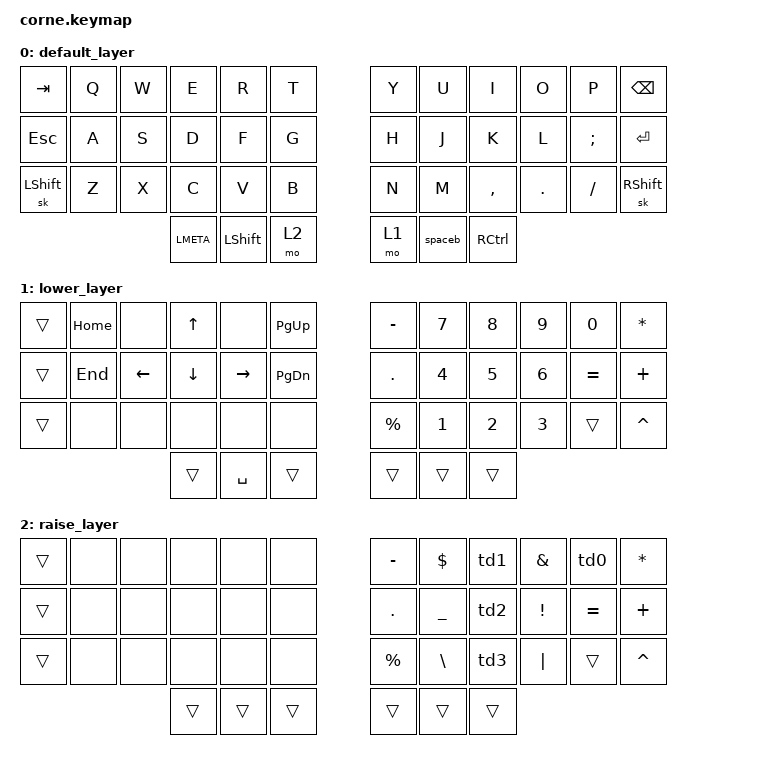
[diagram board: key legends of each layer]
/*
 * Copyright (c) 2020 The ZMK Contributor
 *
 * SPDX-License-Identifier: MIT
 */

#include <behaviors.dtsi>
#include <dt-bindings/zmk/keys.h>
#include <dt-bindings/zmk/bt.h>

/ {
            behaviors {
                spaceb: space_backspace {
                    compatible = "zmk,behavior-mod-morph";
                    label = "SPACE_BACKSPACE";
                    #binding-cells = <0>;
                    bindings = <&kp SPACE>, <&kp BSPC>;
                    mods = <(MOD_LSFT)>;
                };
                td0: tap_dance_0 {
                    compatible = "zmk,behavior-tap-dance";
                    label = "TAP_DANCE_0";
                    #binding-cells = <0>;
                    tapping-term-ms = <200>;
                    bindings = <&kp SQT>, <&kp DQT>;
                };
                td1: tap_dance_1 {
                    compatible = "zmk,behavior-tap-dance";
                    label = "TAP_DANCE_1";
                    #binding-cells = <0>;
                    tapping-term-ms = <200>;
                    bindings = <&kp LBRC>, <&kp RBRC>;
                };
                td2: tap_dance_2 {
                    compatible = "zmk,behavior-tap-dance";
                    label = "TAP_DANCE_2";
                    #binding-cells = <0>;
                    tapping-term-ms = <200>;
                    bindings = <&kp LPAR>, <&kp RPAR>;
                };
                td3: tap_dance_3 {
                    compatible = "zmk,behavior-tap-dance";
                    label = "TAP_DANCE_3";
                    #binding-cells = <0>;
                    tapping-term-ms = <200>;
                    bindings = <&kp LBKT>, <&kp RBKT>;
                };
            };
            
        keymap {
                compatible = "zmk,keymap";

                default_layer {
// -----------------------------------------------------------------------------------------
// |  TAB |  Q  |  W  |  E  |  R  |  T  |   |  Y  |  U   |  I  |  O  |  P  | BKSP |
// | ESC  |  A  |  S  |  D  |  F  |  G  |   |  H  |  J   |  K  |  L  |  ;  | ENT  |
// | SHFT |  Z  |  X  |  C  |  V  |  B  |   |  N  |  M   |  ,  |  .  |  /  | SHFT |
//                   | META| SHFT | RSE |   | LWR | SPC  | CTL |
                        bindings = <
   &kp TAB   &kp Q &kp W &kp E &kp R &kp T   &kp Y &kp U  &kp I     &kp O   &kp P    &kp BSPC
   &kp ESC &kp A &kp S &kp D &kp F &kp G     &kp H &kp J  &kp K     &kp L   &kp SEMI &kp RET
   &sk LSHFT &kp Z &kp X &kp C &kp V &kp B   &kp N &kp M  &kp COMMA &kp DOT &kp FSLH &sk RSHFT
                  &kp LMETA &kp LSHFT &mo 2   &mo 1 &spaceb &kp RCTRL
                        >;
                };
                lower_layer {
// -----------------------------------------------------------------------------------------
// | TAB  | home|     |  up |     |pg_up|   |  -  |  7  |  8  |  9  |  0  |  *   |
// | ESC  | end |right| down| left|pg_d |   |  .  |  4  |  5  |  6  |  =  |  +   |
// | SHFT |     |     |     |     |     |   |  %  |  1  |  2  |  3  |  /  |  ^   |
//                    | META| SPC | RSE |   | LWR | SPC  | CTL |
                        bindings = <
   &trans &kp HOME &none &kp UP &none &kp PG_UP     &kp MINUS &kp N7 &kp N8 &kp N9 &kp N0 &kp ASTRK
   &trans &kp END &kp LEFT &kp DOWN &kp RIGHT &kp PG_DN     &kp DOT &kp N4 &kp N5 &kp N6 &kp EQUAL &kp PLUS
   &trans &none &none &none &none &none     &kp PRCNT &kp N1 &kp N2 &kp N3 &trans &kp CARET
                    &trans &kp SPACE &trans    &trans &trans &trans
                        >;
                };

                raise_layer {
// -----------------------------------------------------------------------------------------
// | TAB  |     |     |     |     |     |   |  -  |  $  |  {} |  &  |  '" |  *   |
// | ESC  |     |     |     |     |     |   |  .  |  _  |  () |  !  |  =  |  +   |
// | SHFT |     |     |     |     |     |   |  %  |  \  |  [] |  |  |  /  |  ^   |
//                   | META| SHFT | RSE |   | LWR | SPC  | CTL |
                        bindings = <
   &trans &none &none &none &none &none       &kp MINUS &kp DLLR &td1 &kp AMPS &td0 &kp ASTRK
   &trans &none &none &none &none &none       &kp DOT &kp UNDER &td2 &kp EXCL &kp EQUAL &kp PLUS
   &trans &none &none &none &none &none       &kp PRCNT &kp BSLH &td3 &kp PIPE &trans &kp CARET
               &trans &trans &trans       &trans  &trans  &trans
                        >;
                };
        };
};
